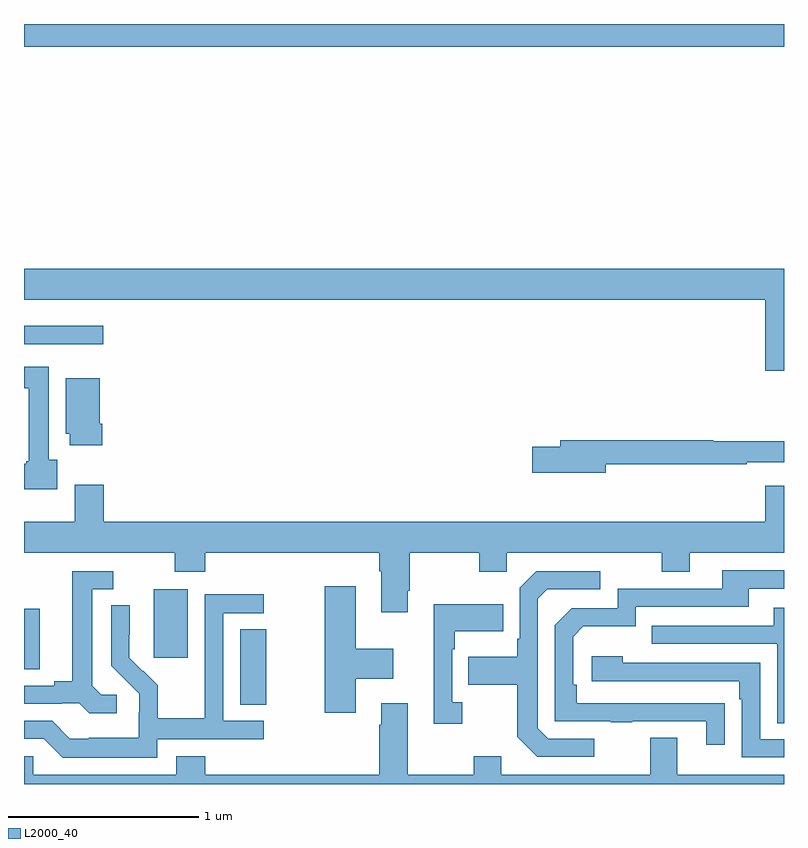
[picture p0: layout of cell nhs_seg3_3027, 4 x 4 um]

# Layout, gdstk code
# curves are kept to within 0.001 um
import gdstk
lib = gdstk.Library(unit=1e-6, precision=1e-09)
def R(c, l, rs):  # rectangles x0, y0, x1, y1
    for r in rs: c.add(gdstk.rectangle(r[:2], r[2:], *l))
def P(c, l, *ps):  # polygons
    for p in ps: c.add(gdstk.Polygon(p, *l))
L2000_40 = (2000, 40)

nhs_seg3_3027 = lib.new_cell('nhs_seg3_3027')
R(nhs_seg3_3027, L2000_40, [(270.137,666.817,270.276,667.214), (269,667.003,269.083,667.323), (269.684,667.065,269.863,667.426), (269,668.715,269.416,668.812), (269,670.28,273,670.4)])
P(nhs_seg3_3027, L2000_40, [(273,669.112),(269,669.112),(269,668.948),(272.9,668.948),(272.9,668.574),(273,668.574)],
  [(269.176,668.106),(269.131,668.106),(269.131,668.596),(269,668.596),(269,668.483),(269.024,668.483),(269.024,668.1),(269.011,668.1),(269.011,668.086),(269,668.086),(269,667.952),(269.176,667.952)],
  [(269.411,668.296),(269.398,668.296),(269.398,668.536),(269.219,668.536),(269.219,668.244),(269.24,668.244),(269.24,668.184),(269.411,668.184)],
  [(272.062,668.082),(272.804,668.082),(272.804,668.094),(273,668.094),(273,668.203),(272.627,668.203),(272.627,668.21),(271.823,668.21),(271.823,668.174),(271.674,668.174),(271.674,668.039),(272.062,668.039)],
  [(271.021,667.417),(271.029,667.417),(271.029,667.616),(271.396,667.616),(271.396,667.517),(271.542,667.517),(271.542,667.616),(272.356,667.616),(272.356,667.517),(272.503,667.517),(272.503,667.616),(273,667.616),(273,667.969),(272.9,667.969),(272.9,667.78),(269.42,667.78),(269.42,667.975),(269.267,667.975),(269.267,667.78),(269,667.78),(269,667.616),(269.794,667.616),(269.794,667.517),(269.954,667.517),(269.954,667.616),(270.869,667.616),(270.869,667.52),(270.881,667.52),(270.881,667.305),(271.021,667.305)],
  [(272.687,666.824),(271.91,666.825),(271.91,666.922),(271.89,666.922),(271.89,667.176),(271.943,667.229),(272.22,667.229),(272.22,667.332),(272.815,667.332),(272.815,667.428),(273,667.428),(273,667.524),(272.675,667.524),(272.675,667.428),(272.124,667.428),(272.124,667.326),(271.884,667.326),(271.794,667.236),(271.794,666.729),(272.089,666.729),(272.089,666.724),(272.201,666.724),(272.201,666.729),(272.591,666.729),(272.591,666.606),(272.687,666.606)],
  [(269.488,666.87),(269.406,666.87),(269.359,666.917),(269.359,667.425),(269.47,667.425),(269.47,667.521),(269.255,667.521),(269.255,666.941),(269.159,666.941),(269.159,666.918),(269,666.918),(269,666.822),(269.198,666.822),(269.198,666.825),(269.292,666.825),(269.344,666.773),(269.488,666.773)],
  [(272.002,666.639),(271.758,666.639),(271.704,666.693),(271.704,667.374),(271.755,667.425),(272.032,667.425),(272.032,667.521),(271.695,667.521),(271.608,667.434),(271.608,667.165),(271.596,667.165),(271.596,667.069),(271.339,667.069),(271.339,666.922),(271.596,666.922),(271.596,666.649),(271.701,666.543),(272.002,666.543)],
  [(270.745,666.953),(270.943,666.953),(270.943,667.111),(270.745,667.111),(270.745,667.441),(270.583,667.441),(270.583,666.774),(270.745,666.774)],
  [(269.7,666.636),(270.262,666.636),(270.262,666.732),(270.048,666.732),(270.048,667.299),(270.262,667.299),(270.262,667.398),(269.952,667.398),(269.952,666.968),(269.95,666.968),(269.95,666.745),(269.705,666.745),(269.705,666.919),(269.628,666.996),(269.625,666.993),(269.555,667.064),(269.556,667.34),(269.46,667.34),(269.46,667.022),(269.606,666.874),(269.606,666.777),(269.604,666.777),(269.604,666.643),(269.341,666.643),(269.341,666.639),(269.241,666.639),(269.148,666.732),(269,666.732),(269,666.639),(269.103,666.639),(269.203,666.539),(269.7,666.539)],
  [(271.306,666.83),(271.254,666.83),(271.254,667.109),(271.267,667.109),(271.267,667.205),(271.523,667.205),(271.523,667.345),(271.157,667.345),(271.157,666.717),(271.306,666.717)],
  [(273,667.327),(272.945,667.327),(272.945,667.233),(272.305,667.233),(272.305,667.137),(272.964,667.137),(272.964,666.721),(273,666.721)],
  [(273,666.636),(272.874,666.636),(272.874,667.038),(272.15,667.038),(272.15,667.072),(271.989,667.072),(271.989,666.942),(272.765,666.942),(272.765,666.845),(272.778,666.845),(272.778,666.54),(273,666.54)],
  [(273,666.448),(272.437,666.448),(272.437,666.643),(272.297,666.643),(272.297,666.448),(271.513,666.448),(271.513,666.547),(271.366,666.547),(271.366,666.448),(271.021,666.448),(271.021,666.826),(270.881,666.826),(270.881,666.713),(270.869,666.713),(270.869,666.448),(269.954,666.448),(269.954,666.547),(269.801,666.547),(269.801,666.448),(269.049,666.448),(269.049,666.546),(269,666.546),(269,666.4),(273,666.4)])

lib.write_gds('nhs_seg3_3027.gds')
